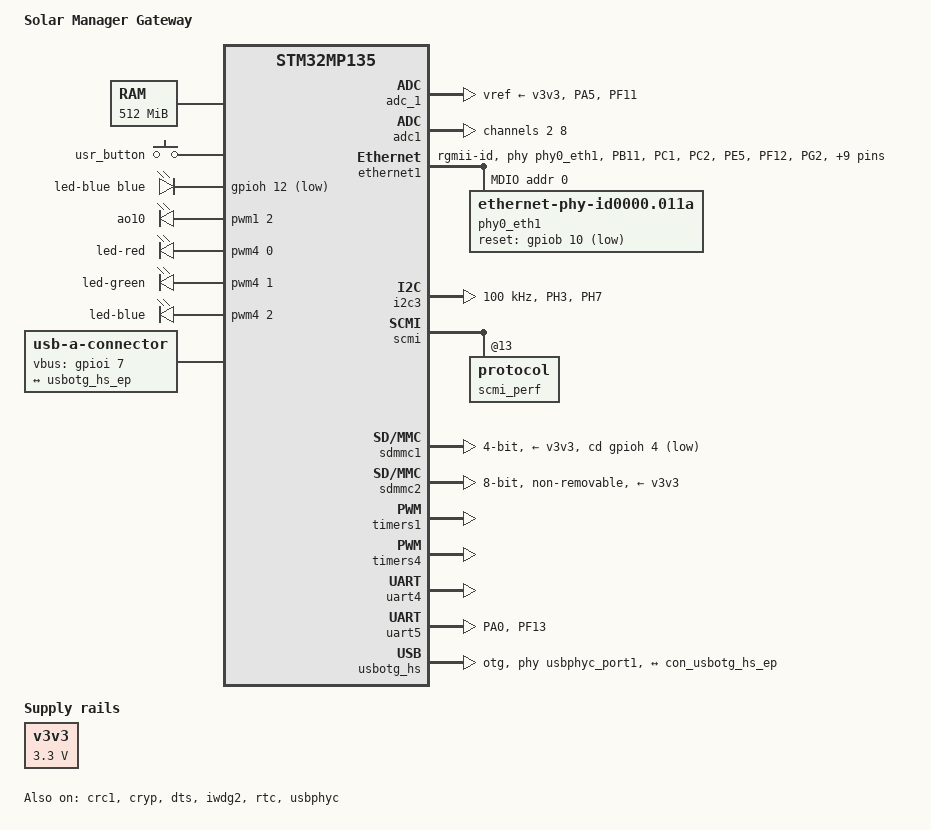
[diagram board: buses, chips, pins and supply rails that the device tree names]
// SPDX-License-Identifier: (GPL-2.0+ OR BSD-3-Clause)
/*
 * Solar Manager Gateway (stm32mp135x-gateway-r1): STM32MP135F with 512 MiB of
 * DDR, eMMC, microSD, Gigabit Ethernet, RS485, two relays and one analog output.
 */

/dts-v1/;

#include <dt-bindings/gpio/gpio.h>
#include <dt-bindings/input/input.h>
#include <dt-bindings/leds/common.h>
#include <dt-bindings/regulator/st,stm32mp13-regulator.h>
#include "stm32mp135.dtsi"
#include "stm32mp13xf.dtsi"
#include "stm32mp13-pinctrl.dtsi"

/ {
	model = "Solar Manager Gateway";
	compatible = "solarmanager,stm32mp135x-gateway-r1", "st,stm32mp135";

	aliases {
		ethernet0 = &ethernet1;
		serial0 = &uart4;
		serial1 = &uart5;
	};

	chosen {
		stdout-path = "serial0:115200n8";
	};

	memory@c0000000 {
		device_type = "memory";
		reg = <0xc0000000 0x20000000>;
	};

	reserved-memory {
		#address-cells = <1>;
		#size-cells = <1>;
		ranges;

		/* OP-TEE: 16 MiB secure framebuffer, then 32 MiB for its core */
		optee@dd000000 {
			reg = <0xdd000000 0x3000000>;
			no-map;
		};
	};

	gpio-keys {
		compatible = "gpio-keys";

		button-0 {
			label = "usr_button";
			linux,code = <KEY_ENTER>;
			interrupt-parent = <&gpioi>;
			interrupts = <1 IRQ_TYPE_EDGE_RISING>;
		};
	};

	/* Status LED, next to the RGB LED of pwm-outputs */
	leds {
		compatible = "gpio-leds";

		led-blue {
			function = LED_FUNCTION_HEARTBEAT;
			color = <LED_COLOR_ID_BLUE>;
			gpios = <&gpioh 12 GPIO_ACTIVE_LOW>;
			linux,default-trigger = "heartbeat";
			default-state = "off";
		};
	};

	pwm-outputs {
		compatible = "pwm-leds";

		/* Analog output AO1, 0-10 V from TIM1_CH3 */
		ao10 {
			label = "ao10";
			pwms = <&pwm1 2 100000 0>;
			max-brightness = <255>;
		};

		/* RGB LED, open drain, active low */
		led-red {
			pwms = <&pwm4 0 100000 1>;
			max-brightness = <255>;
		};

		led-green {
			pwms = <&pwm4 1 100000 1>;
			max-brightness = <255>;
		};

		led-blue {
			pwms = <&pwm4 2 100000 1>;
			max-brightness = <255>;
		};
	};

	v3v3: regulator-3v3 {
		compatible = "regulator-fixed";
		regulator-name = "v3v3";
		regulator-min-microvolt = <3300000>;
		regulator-max-microvolt = <3300000>;
		regulator-always-on;
	};

	usb-a-connector {
		compatible = "usb-a-connector";
		label = "USB";
		vbus-gpios = <&gpioi 7 (GPIO_ACTIVE_HIGH | GPIO_PULL_DOWN)>;

		port {
			con_usbotg_hs_ep: endpoint {
				remote-endpoint = <&usbotg_hs_ep>;
			};
		};
	};
};

&adc_1 {
	pinctrl-names = "default";
	pinctrl-0 = <&adc1_pins_sm>;
	vdda-supply = <&v3v3>;
	vref-supply = <&v3v3>;
	vdd-supply = <&v3v3>;
	status = "okay";
};

&adc1 {
	status = "okay";

	channel@2 {
		reg = <2>;
		st,min-sample-time-ns = <5000>;
	};

	channel@8 {
		reg = <8>;
		st,min-sample-time-ns = <5000>;
	};
};

/*
 * The CPU frequency is set by OP-TEE through the SCMI performance protocol,
 * from the operating points of the OP-TEE devicetree.
 */
&cpu0 {
	power-domains = <&scmi_perf 0>;
	power-domain-names = "perf";
};

&crc1 {
	status = "okay";
};

&cryp {
	status = "okay";
};

&dts {
	status = "okay";
};

&ethernet1 {
	pinctrl-names = "default", "sleep";
	pinctrl-0 = <&eth1_rgmii_pins_sm>;
	pinctrl-1 = <&eth1_rgmii_sleep_pins_sm>;
	phy-mode = "rgmii-id";
	max-speed = <1000>;
	phy-handle = <&phy0_eth1>;
	st,ext-phyclk;
	status = "okay";

	mdio1 {
		#address-cells = <1>;
		#size-cells = <0>;
		compatible = "snps,dwmac-mdio";

		/*
		 * Motorcomm YT8521. The PHY is held in reset until the MDIO bus
		 * probes, so its ID can not be read and has to be given here.
		 */
		phy0_eth1: ethernet-phy@0 {
			compatible = "ethernet-phy-id0000.011a";
			reg = <0>;
			reset-gpios = <&gpiob 10 GPIO_ACTIVE_LOW>;
			reset-assert-us = <1000>;
			reset-deassert-us = <2000>;
		};
	};
};

&i2c3 {
	pinctrl-names = "default", "sleep";
	pinctrl-0 = <&i2c3_pins_sm>;
	pinctrl-1 = <&i2c3_sleep_pins_sm>;
	i2c-scl-rising-time-ns = <300>;
	i2c-scl-falling-time-ns = <300>;
	clock-frequency = <100000>;
	/delete-property/dmas;
	/delete-property/dma-names;
	status = "okay";
};

&iwdg2 {
	timeout-sec = <32>;
	status = "okay";
};

&pinctrl {
	adc1_pins_sm: adc1-pins-sm {
		pins {
			pinmux = <STM32_PINMUX('A', 5, ANALOG)>, /* ADC1_INP2 */
				 <STM32_PINMUX('F', 11, ANALOG)>; /* ADC1_INP8 */
		};
	};

	eth1_rgmii_pins_sm: eth1-rgmii-sm {
		pins1 {
			pinmux = <STM32_PINMUX('B', 11, AF11)>, /* ETH1_RGMII_TX_CTL */
				 <STM32_PINMUX('C', 1, AF11)>, /* ETH1_RGMII_GTX_CLK */
				 <STM32_PINMUX('C', 2, AF11)>, /* ETH1_RGMII_TXD2 */
				 <STM32_PINMUX('E', 5, AF10)>, /* ETH1_RGMII_TXD3 */
				 <STM32_PINMUX('F', 12, AF11)>, /* ETH1_RGMII_CLK125 */
				 <STM32_PINMUX('G', 2, AF11)>, /* ETH1_MDC */
				 <STM32_PINMUX('G', 13, AF11)>, /* ETH1_RGMII_TXD0 */
				 <STM32_PINMUX('G', 14, AF11)>; /* ETH1_RGMII_TXD1 */
			bias-disable;
			drive-push-pull;
			slew-rate = <2>;
		};

		pins2 {
			pinmux = <STM32_PINMUX('A', 2, AF11)>; /* ETH1_MDIO */
			bias-disable;
			drive-push-pull;
			slew-rate = <0>;
		};

		pins3 {
			pinmux = <STM32_PINMUX('A', 1, AF11)>, /* ETH1_RGMII_RX_CLK */
				 <STM32_PINMUX('A', 7, AF11)>, /* ETH1_RGMII_RX_CTL */
				 <STM32_PINMUX('B', 0, AF11)>, /* ETH1_RGMII_RXD2 */
				 <STM32_PINMUX('B', 1, AF11)>, /* ETH1_RGMII_RXD3 */
				 <STM32_PINMUX('C', 4, AF11)>, /* ETH1_RGMII_RXD0 */
				 <STM32_PINMUX('C', 5, AF11)>; /* ETH1_RGMII_RXD1 */
			bias-disable;
		};
	};

	eth1_rgmii_sleep_pins_sm: eth1-rgmii-sleep-sm {
		pins {
			pinmux = <STM32_PINMUX('A', 1, ANALOG)>, /* ETH1_RGMII_RX_CLK */
				 <STM32_PINMUX('A', 2, ANALOG)>, /* ETH1_MDIO */
				 <STM32_PINMUX('A', 7, ANALOG)>, /* ETH1_RGMII_RX_CTL */
				 <STM32_PINMUX('B', 0, ANALOG)>, /* ETH1_RGMII_RXD2 */
				 <STM32_PINMUX('B', 1, ANALOG)>, /* ETH1_RGMII_RXD3 */
				 <STM32_PINMUX('B', 11, ANALOG)>, /* ETH1_RGMII_TX_CTL */
				 <STM32_PINMUX('C', 1, ANALOG)>, /* ETH1_RGMII_GTX_CLK */
				 <STM32_PINMUX('C', 2, ANALOG)>, /* ETH1_RGMII_TXD2 */
				 <STM32_PINMUX('C', 4, ANALOG)>, /* ETH1_RGMII_RXD0 */
				 <STM32_PINMUX('C', 5, ANALOG)>, /* ETH1_RGMII_RXD1 */
				 <STM32_PINMUX('E', 5, ANALOG)>, /* ETH1_RGMII_TXD3 */
				 <STM32_PINMUX('F', 12, ANALOG)>, /* ETH1_RGMII_CLK125 */
				 <STM32_PINMUX('G', 2, ANALOG)>, /* ETH1_MDC */
				 <STM32_PINMUX('G', 13, ANALOG)>, /* ETH1_RGMII_TXD0 */
				 <STM32_PINMUX('G', 14, ANALOG)>; /* ETH1_RGMII_TXD1 */
		};
	};

	i2c3_pins_sm: i2c3-sm {
		pins {
			pinmux = <STM32_PINMUX('H', 3, AF4)>, /* I2C3_SCL */
				 <STM32_PINMUX('H', 7, AF5)>; /* I2C3_SDA */
			bias-disable;
			drive-open-drain;
			slew-rate = <0>;
		};
	};

	i2c3_sleep_pins_sm: i2c3-sleep-sm {
		pins {
			pinmux = <STM32_PINMUX('H', 3, ANALOG)>, /* I2C3_SCL */
				 <STM32_PINMUX('H', 7, ANALOG)>; /* I2C3_SDA */
		};
	};

	pwm1_pins_sm: pwm1-sm {
		pins {
			pinmux = <STM32_PINMUX('A', 10, AF1)>; /* TIM1_CH3 */
			bias-disable;
			drive-push-pull;
			slew-rate = <0>;
		};
	};

	pwm4_pins_sm: pwm4-sm {
		pins {
			pinmux = <STM32_PINMUX('D', 12, AF2)>, /* TIM4_CH1 */
				 <STM32_PINMUX('B', 7, AF2)>, /* TIM4_CH2 */
				 <STM32_PINMUX('B', 8, AF2)>; /* TIM4_CH3 */
			bias-pull-up;
			drive-open-drain;
			slew-rate = <0>;
		};
	};

	pwm4_sleep_pins_sm: pwm4-sleep-sm {
		pins {
			pinmux = <STM32_PINMUX('D', 12, ANALOG)>, /* TIM4_CH1 */
				 <STM32_PINMUX('B', 7, ANALOG)>, /* TIM4_CH2 */
				 <STM32_PINMUX('B', 8, ANALOG)>; /* TIM4_CH3 */
			bias-pull-up;
		};
	};

	uart5_pins_sm: uart5-sm {
		pins1 {
			pinmux = <STM32_PINMUX('A', 0, AF8)>; /* UART5_TX */
			bias-disable;
			drive-push-pull;
			slew-rate = <0>;
		};

		pins2 {
			pinmux = <STM32_PINMUX('F', 13, AF8)>; /* UART5_RX */
			bias-pull-up;
		};
	};

	uart5_idle_pins_sm: uart5-idle-sm {
		pins1 {
			pinmux = <STM32_PINMUX('A', 0, ANALOG)>; /* UART5_TX */
		};

		pins2 {
			pinmux = <STM32_PINMUX('F', 13, AF8)>; /* UART5_RX */
			bias-pull-up;
		};
	};

	uart5_sleep_pins_sm: uart5-sleep-sm {
		pins {
			pinmux = <STM32_PINMUX('A', 0, ANALOG)>, /* UART5_TX */
				 <STM32_PINMUX('F', 13, ANALOG)>; /* UART5_RX */
		};
	};
};

/* The console RX is pulled up on this board, unlike on the DK */
&{uart4_pins_a/pins2} {
	/delete-property/ bias-disable;
	bias-pull-up;
};

&{uart4_idle_pins_a/pins2} {
	/delete-property/ bias-disable;
	bias-pull-up;
};

&rtc {
	status = "okay";
};

&scmi {
	scmi_perf: protocol@13 {
		reg = <0x13>;
		#power-domain-cells = <1>;
	};
};

/* SD card */
&sdmmc1 {
	pinctrl-names = "default", "opendrain", "sleep";
	pinctrl-0 = <&sdmmc1_b4_pins_a &sdmmc1_clk_pins_a>;
	pinctrl-1 = <&sdmmc1_b4_od_pins_a &sdmmc1_clk_pins_a>;
	pinctrl-2 = <&sdmmc1_b4_sleep_pins_a>;
	cd-gpios = <&gpioh 4 (GPIO_ACTIVE_LOW | GPIO_PULL_UP)>;
	disable-wp;
	st,neg-edge;
	bus-width = <4>;
	vmmc-supply = <&v3v3>;
	status = "okay";
};

/*
 * eMMC. The SDMMC is kept on the first variant of the IP (0x10153180) as since
 * the board bring-up; the default variant of the SoC is not validated here.
 */
&sdmmc2 {
	arm,primecell-periphid = <0x10153180>;
	pinctrl-names = "default", "opendrain", "sleep";
	pinctrl-0 = <&sdmmc2_b4_pins_a &sdmmc2_d47_pins_a &sdmmc2_clk_pins_a>;
	pinctrl-1 = <&sdmmc2_b4_od_pins_a &sdmmc2_d47_pins_a &sdmmc2_clk_pins_a>;
	pinctrl-2 = <&sdmmc2_b4_sleep_pins_a &sdmmc2_d47_sleep_pins_a>;
	non-removable;
	no-sd;
	no-sdio;
	st,neg-edge;
	bus-width = <8>;
	vmmc-supply = <&v3v3>;
	vqmmc-supply = <&v3v3>;
	status = "okay";
};

&timers1 {
	/delete-property/dmas;
	/delete-property/dma-names;
	status = "okay";

	pwm1: pwm {
		pinctrl-names = "default";
		pinctrl-0 = <&pwm1_pins_sm>;
		status = "okay";
	};
};

&timers4 {
	/delete-property/dmas;
	/delete-property/dma-names;
	status = "okay";

	pwm4: pwm {
		pinctrl-names = "default", "sleep";
		pinctrl-0 = <&pwm4_pins_sm>;
		pinctrl-1 = <&pwm4_sleep_pins_sm>;
		status = "okay";
	};
};

/* Console */
&uart4 {
	pinctrl-names = "default", "sleep", "idle";
	pinctrl-0 = <&uart4_pins_a>;
	pinctrl-1 = <&uart4_sleep_pins_a>;
	pinctrl-2 = <&uart4_idle_pins_a>;
	/delete-property/dmas;
	/delete-property/dma-names;
	status = "okay";
};

/* RS485 */
&uart5 {
	pinctrl-names = "default", "sleep", "idle";
	pinctrl-0 = <&uart5_pins_sm>;
	pinctrl-1 = <&uart5_sleep_pins_sm>;
	pinctrl-2 = <&uart5_idle_pins_sm>;
	status = "okay";
};

&usbotg_hs {
	phys = <&usbphyc_port1 0>;
	phy-names = "usb2-phy";
	usb-role-switch;
	dr_mode = "otg";
	role-switch-default-mode = "peripheral";
	status = "okay";

	port {
		usbotg_hs_ep: endpoint {
			remote-endpoint = <&con_usbotg_hs_ep>;
		};
	};
};

&usbphyc {
	status = "okay";
};

&usbphyc_port1 {
	phy-supply = <&v3v3>;
	st,current-boost-microamp = <1000>;
	st,decrease-hs-slew-rate;
	st,tune-hs-dc-level = <2>;
	st,enable-hs-rftime-reduction;
	st,trim-hs-current = <11>;
	st,trim-hs-impedance = <2>;
	st,tune-squelch-level = <1>;
	st,enable-hs-rx-gain-eq;
	st,no-hs-ftime-ctrl;
	st,no-lsfs-sc;
};
